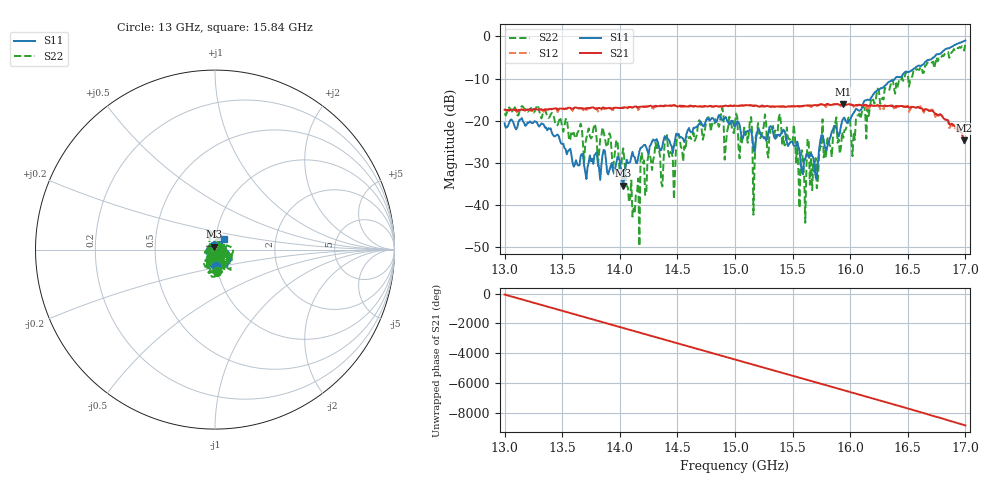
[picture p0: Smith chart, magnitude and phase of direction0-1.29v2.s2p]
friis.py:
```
import skrf as rf
import numpy as np
import matplotlib.pyplot as plt



def getR(S12, f, G):

    wavelength = 3e8/f
    r = np.sqrt((wavelength**2*G**2)/(4**2*np.pi**2*S12**2))

    return r

def getG(S12, f, r):

    wavelength = 3e8 / f

    G = (abs(S12)*4*np.pi*r)/(wavelength)

    return G

def Aeff(f,G):

    wavelength = 3e8 / f
    A = (wavelength**2)*G/(4*np.pi)

    return A
def Ghorn():
    S = rf.Network('Data2/direction0-1.29v2.s2p')
    f = S.frequency.f.squeeze()
    s12 = S.s12.s.squeeze()

    Ghorn = getG(s12, f, 1.29)

    return f, Ghorn


if __name__ == '__main__':

    # S = rf.Network('../Data2/direction0-1.29v2.s2p')
    # # half_meter = rf.Network('Data2/direction0-0.5m.s2p')
    # # one_meter = rf.Network('Data2/direction0-1m.s2p')
    # s12 = S.s12.s.squeeze()
    #
    # # extra_measurement = rf.Network('Data2/.s2p')
    #
    # f = S.frequency.f.squeeze()
    #
    #
    # G = getG(s12, f, 1.29)

    f, Ghorn = Ghorn()
    # print(G)

    figure = plt.figure(figsize=(8, 5))
    plt.plot(f / 1e9, 10*np.log10(Ghorn))

    # plt.title('Phase of S12 vs Frequency')
    plt.xlabel('Frequency (GHz)')

    plt.ylabel('Gain (dB)')
    plt.grid(True)
    # plt.xticks(np.linspace(0, 10, 11))
    # plt.yticks(np.linspace(-180, 180, 10))
    # plt.xlim(thru.frequency.f.min()/1e9, thru.frequency.f.max()/1e9)
    # plt.savefig("PhaseThru.svg")
    plt.show()
    #
    # print(G)
    # R2 = getR(Shalf, f, G)
    # R3 = getR(Sone, f, G)
    # print(f"Estimated range for 50cm:\n{round(R2,3)} m \nfor 1m: \n{round(R3,3)} m")
```
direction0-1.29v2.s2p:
!Keysight Technologies,P9374A,MY57211810,A.19.30.04
!Date: Friday, May 02, 2025 10:35:46
!Correction: S11(C* 2-Port  )
!S21(C* 2-Port  )
!S12(C* 2-Port  )
!S22(C* 2-Port  )
!S2P File: Measurements: S11, S21, S12, S22:
# Hz S  dB  R 50
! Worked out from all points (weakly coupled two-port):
!   401 points, 13 GHz to 17 GHz, reference 50 ohm
!   highest |S21| = -16.01 dB at 15.94 GHz (marker M1); lowest = -24.7 dB at 16.99 GHz (marker M2)
!   lowest |S11| = -35.4 dB at 14.03 GHz (marker M3), VSWR 1.03, Z = 49.3 + j1.54 ohm
!   |S11| at or under -10 dB: start of sweep to 16.39 GHz
!   |S22| runs from -49.7 to -1.7 dB; largest |S21 - S12| = 0.018
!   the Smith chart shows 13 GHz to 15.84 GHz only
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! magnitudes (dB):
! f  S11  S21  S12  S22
! 13 GHz  -20.6  -17.4  -17.3  -18.2
! 14.03 GHz  -35.4  -17.0  -16.8  -26.5
! 14.15 GHz  -30.1  -16.8  -16.7  -36.7
! 14.32 GHz  -24.4  -16.5  -16.6  -27.0
! 15 GHz  -21.5  -16.4  -16.5  -20.4
! 15.17 GHz  -27.3  -16.5  -16.4  -30.3
! 15.38 GHz  -23.2  -16.7  -16.6  -19.2
! 15.7 GHz  -33.4  -16.3  -16.4  -28.8
! 15.94 GHz  -19.5  -16.0  -16.2  -24.0
! 16.99 GHz  -1.1  -24.7  -25.4  -3.4
! 17 GHz  -1.0  -24.2  -24.3  -1.7
